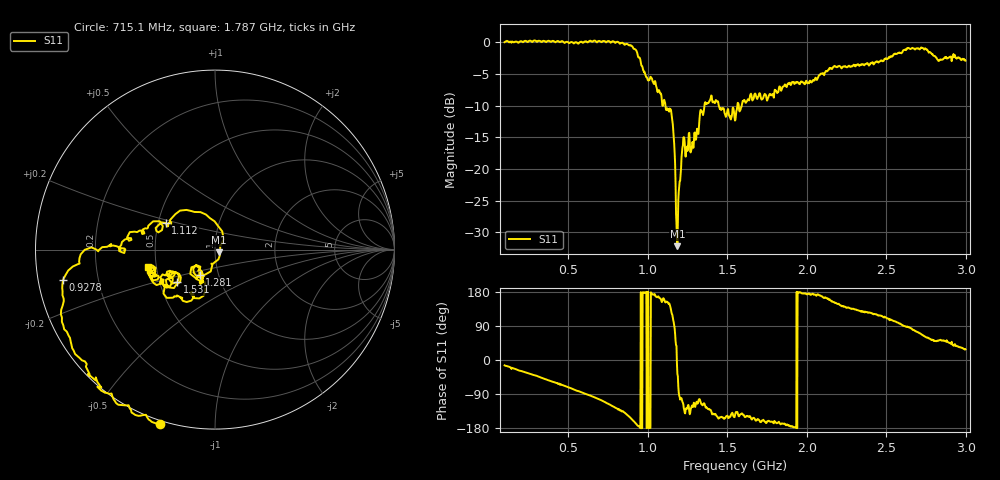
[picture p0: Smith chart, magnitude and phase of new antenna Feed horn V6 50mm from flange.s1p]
# HZ S RI R 50
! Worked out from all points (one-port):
!   1009 points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, 100 MHz to 2.997 GHz, reference 50 ohm
!   lowest |S11| = -32.2 dB at 1.186 GHz (marker M1), VSWR 1.05, Z = 52 - j1.55 ohm
!   |S11| at or under -10 dB: 1.111 GHz to 1.356 GHz (245.2 MHz wide, 19.9 % of centre); 1.447 GHz to 1.563 GHz (116.5 MHz wide, 7.74 % of centre); 1.572 GHz to 1.591 GHz (18.4 MHz wide, 1.16 % of centre)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
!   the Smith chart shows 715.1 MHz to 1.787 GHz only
!   S11 on the Smith chart (normalised r, x): 715.1 MHz: -0.01, -0.73; 927.8 MHz: 0.07, -0.10; 1.112 GHz: 0.55, +0.18; 1.281 GHz: 0.81, -0.23; 1.531 GHz: 0.62, -0.24; 1.787 GHz: 0.45, -0.10
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1e8  0.9714 -0.245
2.983152e8  0.7688 -0.6733
4.621408e8  0.4141 -0.9328
7.150645e8  -0.3087 -0.9692
8.242815e8  -0.6642 -0.7119
8.760159e8  -0.8002 -0.5287
9.277503e8  -0.8457 -0.1667
9.65114e8  -0.6477 -0.00347
1.111695e9  -0.2754 0.1482
1.151933e9  -0.1312 0.2147
1.160555e9  -0.0502 0.1952
1.174926e9  0.0483 0.0577
1.186422e9  0.0196 -0.0149
1.195045e9  0.00384 -0.0665
1.220912e9  -0.0593 -0.1414
1.281269e9  -0.0858 -0.1395
1.387612e9  -0.2264 -0.2599
1.531318e9  -0.2104 -0.1818
1.548563e9  -0.1994 -0.1356
1.787116e9  -0.3705 -0.0991
1.910704e9  -0.4841 -0.0395
2.077404e9  -0.5437 0.0855
2.272845e9  -0.4647 0.4395
2.479782e9  -0.2831 0.6511
2.634985e9  0.0486 0.8985
2.758573e9  0.4422 0.7452
2.816056e9  0.4846 0.575
2.997126e9  0.6321 0.3369
